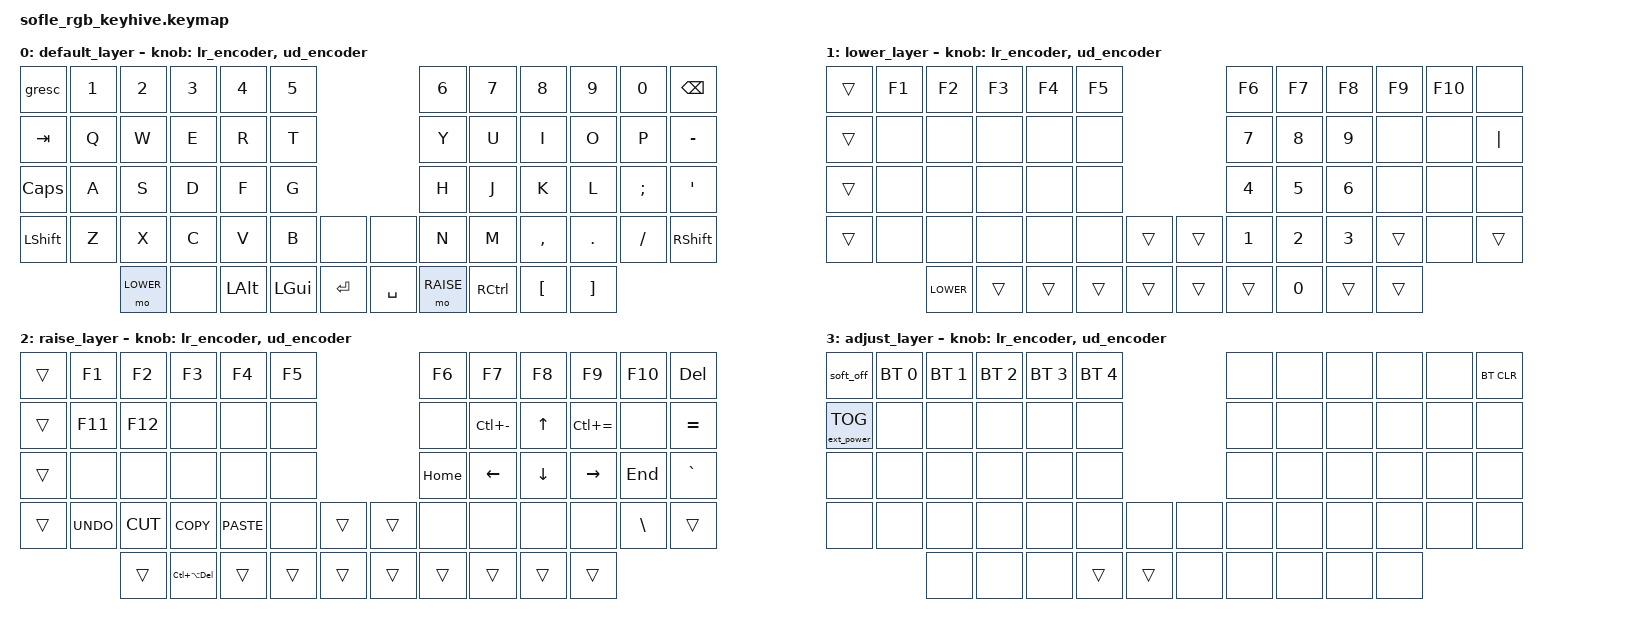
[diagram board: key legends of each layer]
#include <behaviors.dtsi>
#include <dt-bindings/zmk/keys.h>
#include <dt-bindings/zmk/bt.h>
#include <dt-bindings/zmk/ext_power.h>

#define DEFAULT 0
#define LOWER 1
#define RAISE 2
#define ADJUST 3

/ {
    combos {
        compatible = "zmk,combos";
        combo_adjust {
            timeout-ms = <50>;
            key-positions = <42 43>;
            bindings = <&tog ADJUST>;
        };
    };

    behaviors {
        minpipe: minus_pipe {
            compatible = "zmk,behavior-mod-morph";
            #binding-cells = <0>;
            bindings = <&kp MINUS>, <&kp PIPE>;
            mods = <(MOD_LALT)>;
        };

        lr_encoder: lr_encoder {
            compatible = "zmk,behavior-sensor-rotate";
            #sensor-binding-cells = <0>;
            bindings = <&kp RIGHT>, <&kp LEFT>;
        };

        ud_encoder: ud_encoder {
            compatible = "zmk,behavior-sensor-rotate";
            #sensor-binding-cells = <0>;
            bindings = <&kp DOWN>, <&kp UP>;
        };
    };
};

/ {
    keymap {
        compatible = "zmk,keymap";

        default_layer {

//    ┌───────────────┬────────┬──────────┬──────────┬───────────┬───────────────┐                            ┌───────────────┬───────────┬───────────┬──────────┬──────────┬───────────┐
//    │    GRESC      │   1    │    2     │    3     │     4     │      5        │                            │      6        │    7      │     8     │    9     │    0     │   Bkspc   │
//    ├───────────────┼────────┼──────────┼──────────┼───────────┼───────────────┤                            ├───────────────┼───────────┼───────────┼──────────┼──────────┼───────────┤
//    │     Tab       │   Q    │    W     │    E     │     R     │      T        │                            │      Y        │    U      │     I     │    O     │    P     │    -_     │
//    ├───────────────┼────────┼──────────┼──────────┼───────────┼───────────────┤                            ├───────────────┼───────────┼───────────┼──────────┼──────────┼───────────┤
//    │  Caps Lock    │   A    │    S     │    D     │     F     │      G        │                            │      H        │    J      │     K     │    L     │    ;     │    '      │
//    ├───────────────┼────────┼──────────┼──────────┼───────────┼───────────────┼──────────────┬─────────────┼───────────────┼───────────┼───────────┼──────────┼──────────┼───────────┤
//    │    Shift      │   Z    │    X     │    C     │     V     │      B        │    Enter     │    Enter    │      N        │    M      │     ,     │    .     │    /     │   Shift   │
//    └───────────────┴────────┼──────────┼──────────┼───────────┼───────────────┼──────────────┼─────────────┼───────────────┼───────────┼───────────┼──────────┼──────────┴───────────┘
//                             │ Mo-Lower │   None   │   L-Alt   │    L-GUI      │    Enter     │    Space    │    Mo-Raise   │   R-Ctrl  │    [      │    ]     │                       
//                             └──────────┴──────────┴───────────┴───────────────┴──────────────┴─────────────┴───────────────┴───────────┴───────────┴──────────┘                       


            bindings = <
&gresc          &kp N1      &kp N2          &kp N3          &kp N4          &kp N5                                          &kp N6          &kp N7          &kp N8          &kp N9          &kp N0          &kp BSPC
&kp TAB         &kp Q       &kp W           &kp E           &kp R           &kp T                                           &kp Y           &kp U           &kp I           &kp O           &kp P           &kp MINUS
&kp CAPS        &kp A       &kp S           &kp D           &kp F           &kp G                                           &kp H           &kp J           &kp K           &kp L           &kp SEMI        &kp SQT
&kp LSHFT       &kp Z       &kp X           &kp C           &kp V           &kp B           &none           &none           &kp N           &kp M           &kp COMMA       &kp DOT         &kp FSLH        &kp RSHFT
                            &mo LOWER       &none           &kp LALT        &kp LGUI        &kp ENTER       &kp SPACE       &mo RAISE       &kp RCTRL       &kp LBKT        &kp RBKT >;

            sensor-bindings = <&lr_encoder &ud_encoder>;
        };


        lower_layer {

//    ┌───────────────┬────────┬──────────┬──────────┬───────────┬───────────────┐                            ┌───────────────┬───────────┬───────────┬──────────┬──────────┬───────────┐
//    │    (trans)    │   F1   │    F2    │    F3    │    F4     │      F5       │                            │      F6       │    F7     │     F8    │    F9    │   F10    │           │
//    ├───────────────┼────────┼──────────┼──────────┼───────────┼───────────────┤                            ├───────────────┼───────────┼───────────┼──────────┼──────────┼───────────┤
//    │    (trans)    │   F11  │    F12   │          │           │               │                            │      7        │    8      │     9     │          │          │     |     │
//    ├───────────────┼────────┼──────────┼──────────┼───────────┼───────────────┤                            ├───────────────┼───────────┼───────────┼──────────┼──────────┼───────────┤
//    │    (trans)    │        │          │          │           │               │                            │      4        │    5      │     6     │          │          │           │
//    ├───────────────┼────────┼──────────┼──────────┼───────────┼───────────────┼──────────────┬─────────────┼───────────────┼───────────┼───────────┼──────────┼──────────┼───────────┤
//    │    (trans)    │        │          │          │           │               │    (trans)   │   (trans)   │      1        │    2      │     3     │    .     │          │  (trans)  │
//    └───────────────┴────────┼──────────┼──────────┼───────────┼───────────────┼──────────────┼─────────────┼───────────────┼───────────┼───────────┼──────────┼──────────┴───────────┘
//                             │  Lower   │ (trans)  │ (trans)   │   (trans)     │    (trans)   │   (trans)   │   (trans)     │     0     │ (trans)   │ (trans)  │                       
//                             └──────────┴──────────┴───────────┴───────────────┴──────────────┴─────────────┴───────────────┴───────────┴───────────┴──────────┘                       

            bindings = <
&trans    &kp F1    &kp F2     &kp F3      &kp F4    &kp F5                      &kp F6    &kp F7   &kp F8   &kp F9    &kp F10   &none
&trans    &none     &none      &none       &none     &none                       &kp N7    &kp N8   &kp N9   &none     &none     &kp PIPE
&trans    &none     &none      &none       &none     &none                       &kp N4    &kp N5   &kp N6   &none     &none     &none
&trans    &none     &none      &none       &none     &none     &trans   &trans   &kp N1    &kp N2   &kp N3   &trans    &none     &trans
                    &kp LOWER  &trans      &trans    &trans    &trans   &trans   &trans    &kp N0   &trans   &trans >;

            sensor-bindings = <&lr_encoder &ud_encoder>;
        };

        raise_layer {

//    ┌───────────────┬────────┬──────────┬──────────┬───────────┬───────────────┐                            ┌───────────────┬───────────┬───────────┬──────────┬──────────┬───────────┐
//    │   (trans)     │   F1   │    F2    │    F3    │     F4    │      F5       │                            │      F6       │    F7     │    F8     │    F9    │    F10   │    DEL    │
//    ├───────────────┼────────┼──────────┼──────────┼───────────┼───────────────┤                            ├───────────────┼───────────┼───────────┼──────────┼──────────┼───────────┤
//    │   (trans)     │  F11   │   F12    │          │           │               │                            │               │ ZOOM OUT  │    Up     │ ZOOM IN  │          │    =+     │
//    ├───────────────┼────────┼──────────┼──────────┼───────────┼───────────────┤                            ├───────────────┼───────────┼───────────┼──────────┼──────────┼───────────┤
//    │   (trans)     │        │          │          │           │               │                            │     Home      │   Left    │   Down    │  Right   │   End    │    `~     │
//    ├───────────────┼────────┼──────────┼──────────┼───────────┼───────────────┼──────────────┬─────────────┼───────────────┼───────────┼───────────┼──────────┼──────────┼───────────┤
//    │   (trans)     │  Undo  │   Cut    │   Copy   │   Paste   │               │   (trans)    │   (trans)   │               │           │           │          │    \     │  (trans)  │
//    └───────────────┴────────┼──────────┼──────────┼───────────┼───────────────┼──────────────┼─────────────┼───────────────┼───────────┼───────────┼──────────┼──────────┴───────────┘
//                             │  (trans) │ Ctrl^Del │  (trans)  │   (trans)     │   (trans)    │   (trans)   │   (trans)     │  (trans)  │  (trans)  │ (trans)  │                       
//                             └──────────┴──────────┴───────────┴───────────────┴──────────────┴─────────────┴───────────────┴───────────┴───────────┴──────────┘                       

            bindings = <
&trans     &kp F1       &kp F2       &kp F3                &kp F4       &kp F5                   &kp F6    &kp F7            &kp F8      &kp F9           &kp F10     &kp DEL
&trans     &kp F11      &kp F12      &none                 &none        &none                    &none     &kp LC(MINUS)     &kp UP      &kp LC(EQUAL)    &none       &kp EQUAL
&trans     &none        &none        &none                 &none        &none                    &kp HOME  &kp LEFT          &kp DOWN    &kp RIGHT        &kp END     &kp GRAVE
&trans     &kp K_UNDO   &kp K_CUT    &kp K_COPY            &kp K_PASTE  &none   &trans   &trans  &none     &none             &none       &none            &kp BSLH    &trans
                        &trans       &kp LC(LA(DEL))       &trans       &trans  &trans   &trans  &trans    &trans            &trans      &trans >;

            sensor-bindings = <&lr_encoder &ud_encoder>;
        };

            adjust_layer {

//    ┌───────────────┬────────┬──────────┬──────────┬───────────┬───────────────┐                            ┌───────────────┬───────────┬───────────┬──────────┬──────────┬───────────┐
//    │     OFF       │   BT1  │   BT2    │   BT3    │    BT4    │     BT5       │                            │               │           │           │          │          │  BT_CLR   │
//    ├───────────────┼────────┼──────────┼──────────┼───────────┼───────────────┤                            ├───────────────┼───────────┼───────────┼──────────┼──────────┼───────────┤
//    │  EXT_POW_ON   │        │          │          │           │               │                            │               │           │           │          │          │           │
//    ├───────────────┼────────┼──────────┼──────────┼───────────┼───────────────┤                            ├───────────────┼───────────┼───────────┼──────────┼──────────┼───────────┤
//    │               │        │          │          │           │               │                            │               │           │           │          │          │           │
//    ├───────────────┼────────┼──────────┼──────────┼───────────┼───────────────┼──────────────┬─────────────┼───────────────┼───────────┼───────────┼──────────┼──────────┼───────────┤
//    │               │        │          │          │           │               │              │             │               │           │           │          │          │           │
//    └───────────────┴────────┼──────────┼──────────┼───────────┼───────────────┼──────────────┼─────────────┼───────────────┼───────────┼───────────┼──────────┼──────────┴───────────┘
//                             │          │          │           │   (trans)     │   (trans)    │             │               │           │           │          │                       
//                             └──────────┴──────────┴───────────┴───────────────┴──────────────┴─────────────┴───────────────┴───────────┴───────────┴──────────┘                       

            bindings = <
&soft_off                  &bt BT_SEL 0    &bt BT_SEL 1    &bt BT_SEL 2    &bt BT_SEL 3    &bt BT_SEL 4                            &none &none &none &none &none &bt BT_CLR
&ext_power EP_TOG          &none           &none           &none           &none           &none                                   &none &none &none &none &none &none
&none                      &none           &none           &none           &none           &none                                   &none &none &none &none &none &none
&none                      &none           &none           &none           &none           &none           &none           &none   &none &none &none &none &none &none
                                           &none           &none           &none           &trans          &trans          &none   &none &none &none &none
            >;
            sensor-bindings = <&lr_encoder &ud_encoder>;
        };
    };

};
